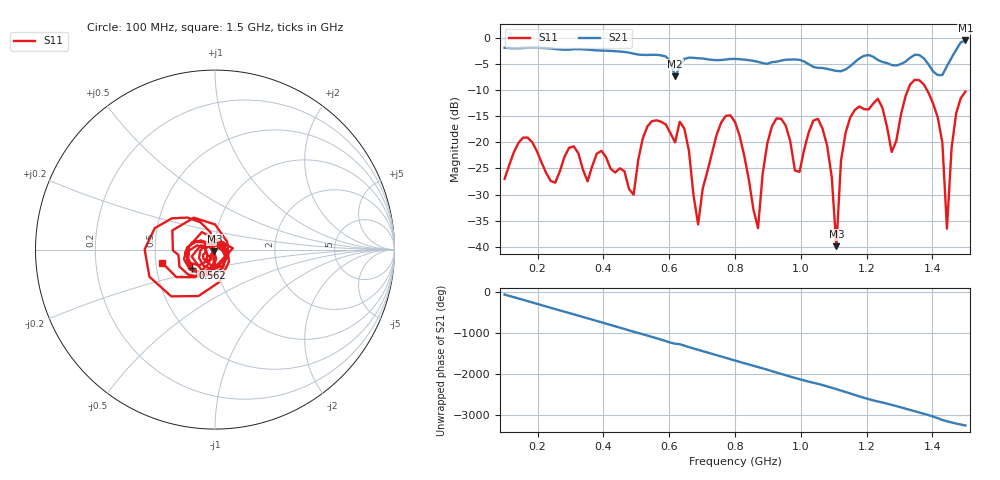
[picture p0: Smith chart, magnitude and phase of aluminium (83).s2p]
! NanoVNA-App
! Date: 2025-09-25 14:55:55
! Start: 100MHz Stop: 1,5GHz Points: 101
! S-Parameter data: F S11 S21 S12 S22
# Hz S RI R 50
!  Frequency  S11_Real  S11_Imag  S21_Real  S21_Imag  S12_Real  S12_Imag  S22_Real  S22_Imag
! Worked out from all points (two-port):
!   101 points, 100 MHz to 1.5 GHz, reference 50 ohm
!   highest |S21| = -0.53 dB at 1.5 GHz (marker M1); lowest = -7.4 dB at 618 MHz (marker M2)
!   |S21| within 3 dB of the highest: start of sweep to 585.5 MHz; 1.461 GHz to end of sweep (the widest 2 of 4)
!   lowest |S11| = -39.9 dB at 1.108 GHz (marker M3), VSWR 1.02, Z = 49.7 - j0.965 ohm
!   |S11| at or under -10 dB: start of sweep to 1.326 GHz; 1.383 GHz to end of sweep
!   S12 and S22 are empty: the file has one direction only
!   S11 on the Smith chart (normalised r, x): 100 MHz: 1.07, +0.06; 562 MHz: 0.76, -0.16; 1.5 GHz: 0.54, -0.09
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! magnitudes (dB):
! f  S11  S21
! 100 MHz  -27.0  -1.9
! 338 MHz  -25.2  -2.2
! 492 MHz  -30.0  -3.1
! 562 MHz  -15.8  -3.3
! 576 MHz  -16.1  -3.4
! 618 MHz  -20.0  -7.4
! 646 MHz  -17.4  -4.1
! 688 MHz  -35.7  -3.9
! 800 MHz  -16.1  -4.1
! 870 MHz  -36.4  -4.6
! 912 MHz  -17.0  -4.7
! 996 MHz  -25.7  -4.2
! 1.038 GHz  -15.9  -5.6
! 1.08 GHz  -20.7  -6.0
! 1.108 GHz  -39.9  -6.4
! 1.15 GHz  -15.3  -5.5
! 1.276 GHz  -21.9  -5.2
! 1.374 GHz  -9.0  -4.0
! 1.43 GHz  -20.1  -7.1
! 1.444 GHz  -36.5  -5.4
! 1.472 GHz  -14.4  -2.3
! 1.5 GHz  -10.3  -0.5
